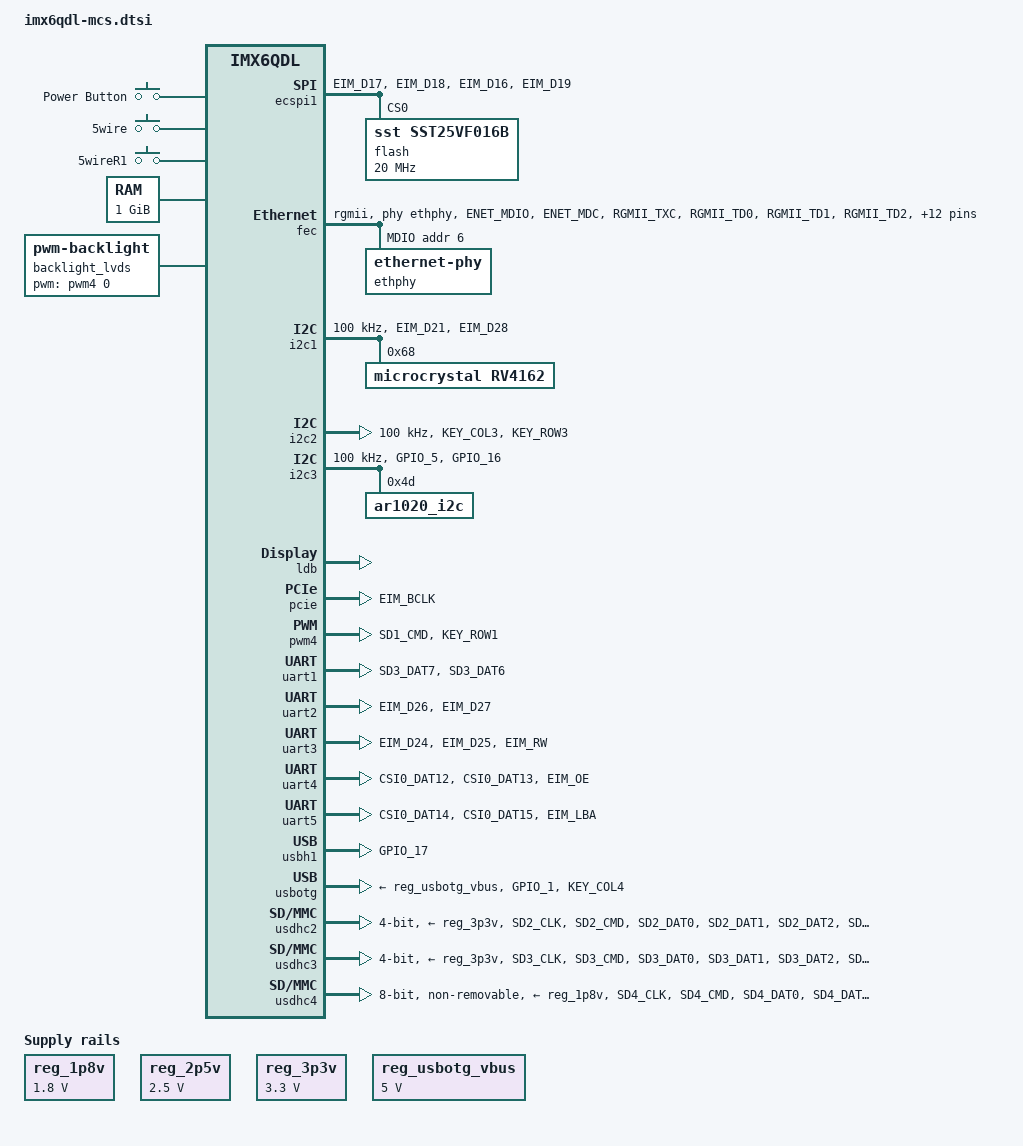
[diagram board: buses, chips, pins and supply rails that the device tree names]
/*
 * Copyright 2013 Boundary Devices
 * Copyright 2012 Freescale Semiconductor, Inc.
 * Copyright 2011 Linaro Ltd.
 *
 * The code contained herein is licensed under the GNU General Public
 * License. You may obtain a copy of the GNU General Public License
 * Version 2 or later at the following locations:
 *
 * http://www.opensource.org/licenses/gpl-license.html
 * http://www.gnu.org/copyleft/gpl.html
 */
#include <dt-bindings/gpio/gpio.h>
#include <dt-bindings/input/input.h>

&iomuxc {
	pinctrl-names = "default";
	pinctrl-0 = <&pinctrl_hog>;

        iomuxc_imx6q_mcs: iomuxc-imx6q-mcsgrp {
                status = "okay";
        };
};

&iomuxc_imx6q_mcs {
	pinctrl_ecspi1: ecspi1grp {
		fsl,pins = <
			MX6QDL_PAD_EIM_D17__ECSPI1_MISO		0x100b1
			MX6QDL_PAD_EIM_D18__ECSPI1_MOSI		0x100b1
			MX6QDL_PAD_EIM_D16__ECSPI1_SCLK		0x100b1
#define GP_ECSPI1_NOR_CS	<&gpio3 19 GPIO_ACTIVE_LOW>
			MX6QDL_PAD_EIM_D19__GPIO3_IO19		0x0b0b1
		>;
	};

	pinctrl_enet: enetgrp {
		fsl,pins = <
			MX6QDL_PAD_ENET_MDIO__ENET_MDIO		0x1b0b0
			MX6QDL_PAD_ENET_MDC__ENET_MDC		0x1b0b0
			MX6QDL_PAD_RGMII_TXC__RGMII_TXC		0x100b0
			MX6QDL_PAD_RGMII_TD0__RGMII_TD0		0x100b0
			MX6QDL_PAD_RGMII_TD1__RGMII_TD1		0x100b0
			MX6QDL_PAD_RGMII_TD2__RGMII_TD2		0x100b0
			MX6QDL_PAD_RGMII_TD3__RGMII_TD3		0x100b0
			MX6QDL_PAD_RGMII_TX_CTL__RGMII_TX_CTL	0x100b0
			MX6QDL_PAD_ENET_REF_CLK__ENET_TX_CLK	0x100b0
			MX6QDL_PAD_RGMII_RXC__RGMII_RXC		0x1b0b0
			MX6QDL_PAD_RGMII_RD0__RGMII_RD0		0x1b0b0
			MX6QDL_PAD_RGMII_RD1__RGMII_RD1		0x1b0b0
			MX6QDL_PAD_RGMII_RD2__RGMII_RD2		0x1b0b0
			MX6QDL_PAD_RGMII_RD3__RGMII_RD3		0x1b0b0
			MX6QDL_PAD_RGMII_RX_CTL__RGMII_RX_CTL	0x1b0b0
#define GP_ENET_PHY_RESET	<&gpio1 27 GPIO_ACTIVE_LOW>
			MX6QDL_PAD_ENET_RXD0__GPIO1_IO27	0x030b0
#define GPIRQ_ENET_PHY		<&gpio1 28 IRQ_TYPE_LEVEL_LOW>
			MX6QDL_PAD_ENET_TX_EN__GPIO1_IO28	0x1b0b0
#define GPIRQ_ENET		<&gpio1 6 IRQ_TYPE_LEVEL_HIGH>
			MX6QDL_PAD_GPIO_6__ENET_IRQ		0x000b1
		>;
	};

	pinctrl_gpio_keys: gpio-keysgrp {
		fsl,pins = <
#define GP_GPIOKEY_POWER	<&gpio4 15 GPIO_ACTIVE_LOW>
			MX6QDL_PAD_KEY_ROW4__GPIO4_IO15		0x1b0b0
#define GP_4_5_WIRE_SELECT	<&gpio5 2 GPIO_ACTIVE_HIGH>
			MX6QDL_PAD_EIM_A25__GPIO5_IO02		0x130b0
#define GP_4_5_WIRE_SELECT_R1	<&gpio7 1 GPIO_ACTIVE_HIGH>
			MX6QDL_PAD_SD3_DAT4__GPIO7_IO01		0x130b0
		>;
	};

	pinctrl_hog: hoggrp {
		fsl,pins = <
			MX6QDL_PAD_EIM_A19__GPIO2_IO19	0x1b0b0	/* J54 pin 9 */
			MX6QDL_PAD_EIM_A20__GPIO2_IO18	0x1b0b0	/* J54 pin 6 */
			MX6QDL_PAD_EIM_A21__GPIO2_IO17	0x1b0b0	/* J54 pin 5 */
			MX6QDL_PAD_EIM_A22__GPIO2_IO16	0x1b0b0	/* J54 pin 4 */
			MX6QDL_PAD_EIM_A23__GPIO6_IO06	0x1b0b0	/* J54 pin 3 */
			MX6QDL_PAD_EIM_A24__GPIO5_IO04	0x1b0b0	/* J54 pin 2 */
		>;
	};

	pinctrl_i2c1: i2c1grp {
		fsl,pins = <
			MX6QDL_PAD_EIM_D21__I2C1_SCL		0x4001b8b1
			MX6QDL_PAD_EIM_D28__I2C1_SDA		0x4001b8b1
		>;
	};

	pinctrl_i2c1_rv4162: i2c1-rv4162grp {
		fsl,pins = <
#define GPIRQ_RTC_RV4162	<&gpio4 7 IRQ_TYPE_LEVEL_LOW>
			MX6QDL_PAD_KEY_ROW0__GPIO4_IO07		0x1b0b0
		>;
	};

	pinctrl_i2c2: i2c2grp {
		fsl,pins = <
			MX6QDL_PAD_KEY_COL3__I2C2_SCL		0x4001b8b1
			MX6QDL_PAD_KEY_ROW3__I2C2_SDA		0x4001b8b1
		>;
	};

	pinctrl_i2c3: i2c3grp {
		fsl,pins = <
			MX6QDL_PAD_GPIO_5__I2C3_SCL		0x4001b8b1
			MX6QDL_PAD_GPIO_16__I2C3_SDA		0x4001b8b1
		>;
	};

	pinctrl_i2c3_ar1021: i2c3-ar1021grp {
		fsl,pins = <
#define GPIRQ_AR1021		<&gpio1 9 IRQ_TYPE_LEVEL_HIGH>
#define GP_AR1021		<&gpio1 9 GPIO_ACTIVE_HIGH>
			MX6QDL_PAD_GPIO_9__GPIO1_IO09		0x1b0b0
		>;
	};

	pinctrl_pcie: pciegrp {
		fsl,pins = <
#define GP_PCIE_RESET	<&gpio6 31 GPIO_ACTIVE_LOW>
			MX6QDL_PAD_EIM_BCLK__GPIO6_IO31		0x000b0		/* pcie reset */
		>;
	};

	pinctrl_pwm4: pwm4grp {
		fsl,pins = <
			MX6QDL_PAD_SD1_CMD__PWM4_OUT		0x130b1
#define GP_LVDS_DE_15_4	<&gpio4 9 GPIO_ACTIVE_HIGH>
			MX6QDL_PAD_KEY_ROW1__GPIO4_IO09		0x1b0b1
		>;
	};
	pinctrl_reg_usbotg_vbus: reg-usbotg-vbusgrp {
		fsl,pins = <
#define GP_REG_USBOTG	<&gpio3 22 GPIO_ACTIVE_HIGH>
			MX6QDL_PAD_EIM_D22__GPIO3_IO22		0x030b0
		>;
	};

	pinctrl_uart1: uart1grp {
		fsl,pins = <
			MX6QDL_PAD_SD3_DAT7__UART1_TX_DATA	0x1b0b1
			MX6QDL_PAD_SD3_DAT6__UART1_RX_DATA	0x1b0b1
		>;
	};

	pinctrl_uart2: uart2grp {
		fsl,pins = <
			MX6QDL_PAD_EIM_D26__UART2_TX_DATA	0x1b0b1
			MX6QDL_PAD_EIM_D27__UART2_RX_DATA	0x1b0b1
		>;
	};

	pinctrl_uart3: uart3grp {
		fsl,pins = <
			MX6QDL_PAD_EIM_D24__UART3_TX_DATA	0x1b0b1
			MX6QDL_PAD_EIM_D25__UART3_RX_DATA	0x1b0b1
#define GP_UART3_TX_EN		<&gpio2 26 GPIO_ACTIVE_HIGH>
			MX6QDL_PAD_EIM_RW__GPIO2_IO26		0x130b1
		>;
	};

	pinctrl_uart4: uart4grp {
		fsl,pins = <
			MX6QDL_PAD_CSI0_DAT12__UART4_TX_DATA	0x1b0b1
			MX6QDL_PAD_CSI0_DAT13__UART4_RX_DATA	0x1b0b1
#define GP_UART4_TX_EN		<&gpio2 25 GPIO_ACTIVE_HIGH>
			MX6QDL_PAD_EIM_OE__GPIO2_IO25		0x130b1
		>;
	};

	pinctrl_uart5: uart5grp {
		fsl,pins = <
			MX6QDL_PAD_CSI0_DAT14__UART5_TX_DATA	0x0b0b1
			MX6QDL_PAD_CSI0_DAT15__UART5_RX_DATA	0x1b0b1
#define GP_UART5_TX_EN		<&gpio2 27 GPIO_ACTIVE_HIGH>
			MX6QDL_PAD_EIM_LBA__GPIO2_IO27		0x130b1
		>;
	};

	pinctrl_usbh1: usbh1grp {
		fsl,pins = <
#define GP_USBH1_HUB_RESET	<&gpio7 12 GPIO_ACTIVE_LOW>
			MX6QDL_PAD_GPIO_17__GPIO7_IO12		0x0b0b0
		>;
	};

	pinctrl_usbotg: usbotggrp {
		fsl,pins = <
			MX6QDL_PAD_GPIO_1__USB_OTG_ID		0x17059
			MX6QDL_PAD_KEY_COL4__USB_OTG_OC		0x1b0b1
		>;
	};

	pinctrl_usdhc2: usdhc2grp {
		fsl,pins = <
			MX6QDL_PAD_SD2_CLK__SD2_CLK		0x10071
			MX6QDL_PAD_SD2_CMD__SD2_CMD		0x17071
			MX6QDL_PAD_SD2_DAT0__SD2_DATA0		0x17071
			MX6QDL_PAD_SD2_DAT1__SD2_DATA1		0x17071
			MX6QDL_PAD_SD2_DAT2__SD2_DATA2		0x17071
			MX6QDL_PAD_SD2_DAT3__SD2_DATA3		0x17071
#define GP_USDHC2_CD	<&gpio7 8 GPIO_ACTIVE_LOW>
			MX6QDL_PAD_SD3_RST__GPIO7_IO08		0x1b0b0
		>;
	};

	pinctrl_usdhc3: usdhc3grp {
		fsl,pins = <
			MX6QDL_PAD_SD3_CLK__SD3_CLK		0x10071
			MX6QDL_PAD_SD3_CMD__SD3_CMD		0x17071
			MX6QDL_PAD_SD3_DAT0__SD3_DATA0		0x17071
			MX6QDL_PAD_SD3_DAT1__SD3_DATA1		0x17071
			MX6QDL_PAD_SD3_DAT2__SD3_DATA2		0x17071
			MX6QDL_PAD_SD3_DAT3__SD3_DATA3		0x17071
#define GP_USDHC3_CD	<&gpio7 0 GPIO_ACTIVE_LOW>
			MX6QDL_PAD_SD3_DAT5__GPIO7_IO00		0x1b0b0
		>;
	};

	pinctrl_usdhc4: usdhc4grp {
		fsl,pins = <
			MX6QDL_PAD_SD4_CLK__SD4_CLK		0x10071
			MX6QDL_PAD_SD4_CMD__SD4_CMD		0x17071
			MX6QDL_PAD_SD4_DAT0__SD4_DATA0		0x17071
			MX6QDL_PAD_SD4_DAT1__SD4_DATA1		0x17071
			MX6QDL_PAD_SD4_DAT2__SD4_DATA2		0x17071
			MX6QDL_PAD_SD4_DAT3__SD4_DATA3		0x17071
			MX6QDL_PAD_SD4_DAT4__SD4_DATA4		0x17071
			MX6QDL_PAD_SD4_DAT5__SD4_DATA5		0x17071
			MX6QDL_PAD_SD4_DAT6__SD4_DATA6		0x17071
			MX6QDL_PAD_SD4_DAT7__SD4_DATA7		0x17071
		>;
	};
};

/ {
	aliases {
		backlight_lvds = &backlight_lvds;
		fb_lvds = &fb_lvds;
		ldb = &ldb;
		mmc0 = &usdhc3;
		mmc1 = &usdhc2;
		mmc2 = &usdhc4;
		mxcfb0 = &fb_lvds;
		pwm_lvds = &pwm4;
		t_lvds = &t_lvds;
	};

	gpio-keys {
		compatible = "gpio-keys";
		pinctrl-names = "default";
		pinctrl-0 = <&pinctrl_gpio_keys>;

		power {
			label = "Power Button";
			gpios = GP_GPIOKEY_POWER;
			linux,code = <KEY_POWER>;	/* or KEY_SEARCH */
			gpio-key,wakeup;
		};

		4_5_WIRE_SELECT {
			label = "5wire";
			gpios = GP_4_5_WIRE_SELECT;
			linux,code = <KEY_VOLUMEDOWN>;
		};

		4_5_WIRE_SELECT_R1 {
			label = "5wireR1";
			gpios = GP_4_5_WIRE_SELECT_R1;
			linux,code = <KEY_VOLUMEUP>;
		};
	};

	memory {
		reg = <0x10000000 0x40000000>;
	};

	regulators {
		compatible = "simple-bus";
		#address-cells = <1>;
		#size-cells = <0>;

		reg_1p8v: regulator@0 {
			compatible = "regulator-fixed";
			reg = <0>;
			regulator-name = "1P8V";
			regulator-min-microvolt = <1800000>;
			regulator-max-microvolt = <1800000>;
			regulator-always-on;
		};

		reg_2p5v: regulator@1 {
			compatible = "regulator-fixed";
			reg = <1>;
			regulator-name = "2P5V";
			regulator-min-microvolt = <2500000>;
			regulator-max-microvolt = <2500000>;
			regulator-always-on;
		};

		reg_3p3v: regulator@2 {
			compatible = "regulator-fixed";
			reg = <2>;
			regulator-name = "3P3V";
			regulator-min-microvolt = <3300000>;
			regulator-max-microvolt = <3300000>;
			regulator-always-on;
		};

		reg_usbotg_vbus: regulator@3 {
			compatible = "regulator-fixed";
			reg = <3>;
			pinctrl-names = "default";
			pinctrl-0 = <&pinctrl_reg_usbotg_vbus>;
			regulator-name = "usb_otg_vbus";
			regulator-min-microvolt = <5000000>;
			regulator-max-microvolt = <5000000>;
			gpio = GP_REG_USBOTG;
			enable-active-high;
		};
	};

	fb_lvds: fb@0 {
		compatible = "fsl,mxc_sdc_fb";
		disp_dev = "ldb";
		interface_pix_fmt = "RGB666";
		default_bpp = <16>;
		int_clk = <0>;
		late_init = <0>;
		status = "okay";
	};

	backlight_lvds: backlight_lvds {
		brightness-levels = <0 10 20 30 40 50 60 70 80 90 100>;
		compatible = "pwm-backlight";
		default-brightness-level = <10>;
		display = <&fb_lvds>;
		pwms = <&pwm4 0 5000000>;
	};

	v4l2_out {
		compatible = "fsl,mxc_v4l2_output";
		status = "okay";
	};
};

&ecspi1 {
	pinctrl-names = "default";
	pinctrl-0 = <&pinctrl_ecspi1>;
	fsl,spi-num-chipselects = <1>;
	cs-gpios = GP_ECSPI1_NOR_CS;
	status = "okay";

	flash: m25p80@0 {
		compatible = "sst,sst25vf016b";
		spi-max-frequency = <20000000>;
		reg = <0>;
		#address-cells = <1>;
		#size-cells = <1>;
		mtd@00000000 {
			label = "U-Boot";
			reg = <0x0 0xC0000>;
		};

		mtd@000C0000 {
			label = "env";
			reg = <0xC0000 0x2000>;
		};
		mtd@000C2000 {
			label = "splash";
			reg = <0xC2000 0x13e000>;
		};
	};
};

&fec {
	interrupts-extended = GPIRQ_ENET,
			      <&gpc 0 119 IRQ_TYPE_LEVEL_HIGH>;
	phy-handle = <&ethphy>;
	phy-mode = "rgmii";
#if 0
	phy-reset-gpios = GP_ENET_PHY_RESET;
#endif
	pinctrl-names = "default";
	pinctrl-0 = <&pinctrl_enet>;
	status = "okay";

	mdio {
		#address-cells = <0>;
		#size-cells = <1>;

		ethphy: ethernet-phy@6 {
			reg = <6>;
			interrupts-extended = GPIRQ_ENET_PHY;
		};
	};
};

&i2c1 {
	clock-frequency = <100000>;
	pinctrl-names = "default";
	pinctrl-0 = <&pinctrl_i2c1>;
	status = "okay";

	rv4162@68 {
		compatible = "microcrystal,rv4162";
		pinctrl-names = "default";
		pinctrl-0 = <&pinctrl_i2c1_rv4162>;
		reg = <0x68>;
		interrupts-extended = GPIRQ_RTC_RV4162;
	};
};


&i2c2 {
	clock-frequency = <100000>;
	pinctrl-names = "default";
	pinctrl-0 = <&pinctrl_i2c2>;
	status = "okay";
};

&i2c3 {
        clock-frequency = <100000>;
        pinctrl-names = "default";
        pinctrl-0 = <&pinctrl_i2c3>;
        status = "okay";

	ar1020_i2c@4d {
		compatible = "ar1020_i2c";
		pinctrl-names = "default";
		pinctrl-0 = <&pinctrl_i2c3_ar1021>;
		reg = <0x4d>;
		interrupts-extended = GPIRQ_AR1021;
		wakeup-gpios = GP_AR1021;
	};
};

&ldb {
	status = "okay";

	lvds-channel@0 {
		crtc = "ipu1-di1";
		fsl,data-mapping = "jeida";
		fsl,data-width = <24>;
		status = "okay";
		primary;

		display-timings {
			t_lvds: t_lvds_default {
				/* wxga values may be changed in bootscript */
				clock-frequency = <72000000>;
				hactive = <1280>;
				vactive = <800>;
				hback-porch = <40>;
				hfront-porch = <40>;
				vback-porch = <3>;
				vfront-porch = <80>;
				hsync-len = <10>;
				vsync-len = <10>;
			};
		};
	};
};

&pcie {
	pinctrl-names = "default";
	pinctrl-0 = <&pinctrl_pcie>;
	reset-gpios = GP_PCIE_RESET;
	status = "okay";
};

&pwm4 {
	pinctrl-names = "default";
	pinctrl-0 = <&pinctrl_pwm4>;
	status = "okay";
};

&uart1 {
	pinctrl-names = "default";
	pinctrl-0 = <&pinctrl_uart1>;
	status = "okay";
};

&uart2 {
	pinctrl-names = "default";
	pinctrl-0 = <&pinctrl_uart2>;
	status = "okay";
};

#define M_TX_EN         1
&uart3 {
	pinctrl-names = "default";
	pinctrl-0 = <&pinctrl_uart3>;
	control-gpios = GP_UART3_TX_EN;
	off_levels = <0>;
	rxact_mask = <0>;
	rxact_levels = <0>;
	rs232_levels = <0>;
	rs232_txen_mask = <0>;
	rs232_txen_levels = <0>;
	rs485_levels = <0>;
	rs485_txen_mask = <M_TX_EN>;
	rs485_txen_levels = <M_TX_EN>;
	uart-has-rs485-half-duplex;
	rs485-mode = <1>;	/* 1 to enable */
	status = "okay";
};

&uart4 {
	pinctrl-names = "default";
	pinctrl-0 = <&pinctrl_uart4>;
	control-gpios = GP_UART4_TX_EN;
	off_levels = <0>;
	rxact_mask = <0>;
	rxact_levels = <0>;
	rs232_levels = <0>;
	rs232_txen_mask = <0>;
	rs232_txen_levels = <0>;
	rs485_levels = <0>;
	rs485_txen_mask = <M_TX_EN>;
	rs485_txen_levels = <M_TX_EN>;
	uart-has-rs485-half-duplex;
	rs485-mode = <1>;	/* 1 to enable */
	status = "okay";
};

&uart5 {
	pinctrl-names = "default";
	pinctrl-0 = <&pinctrl_uart5>;
	control-gpios = GP_UART5_TX_EN;
	off_levels = <0>;
	rxact_mask = <0>;
	rxact_levels = <0>;
	rs232_levels = <0>;
	rs232_txen_mask = <0>;
	rs232_txen_levels = <0>;
	rs485_levels = <0>;
	rs485_txen_mask = <M_TX_EN>;
	rs485_txen_levels = <M_TX_EN>;
	uart-has-rs485-half-duplex;
	rs485-mode = <1>;	/* 1 to enable */
	status = "okay";
};

&usbh1 {
	pinctrl-names = "default";
	pinctrl-0 = <&pinctrl_usbh1>;
	disable-over-current;
	reset-gpios = GP_USBH1_HUB_RESET;
	status = "okay";
};

&usbotg {
	vbus-supply = <&reg_usbotg_vbus>;
	pinctrl-names = "default";
	pinctrl-0 = <&pinctrl_usbotg>;
	disable-over-current;
	status = "okay";
};

&usdhc2 {
	pinctrl-names = "default";
	pinctrl-0 = <&pinctrl_usdhc2>;
	bus-width = <4>;
	cd-gpios = GP_USDHC2_CD;
	vmmc-supply = <&reg_3p3v>;
	status = "okay";
};

&usdhc3 {
	pinctrl-names = "default";
	pinctrl-0 = <&pinctrl_usdhc3>;
	bus-width = <4>;
	cd-gpios = GP_USDHC3_CD;
	vmmc-supply = <&reg_3p3v>;
	status = "okay";
};

&usdhc4 {
	pinctrl-names = "default";
	pinctrl-0 = <&pinctrl_usdhc4>;
	bus-width = <8>;
	non-removable;
	vqmmc-1-8-v;
	vmmc-supply = <&reg_1p8v>;
	keep-power-in-suspend;
	status = "okay";
};
